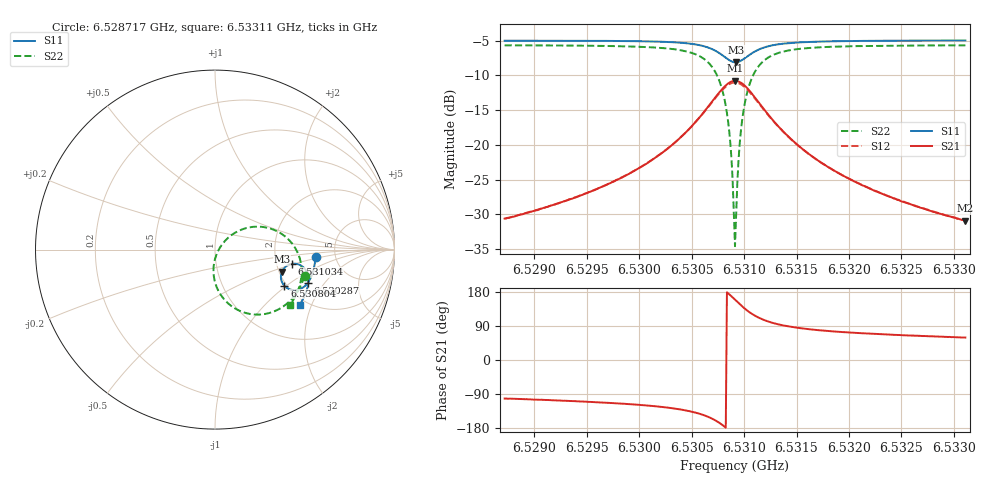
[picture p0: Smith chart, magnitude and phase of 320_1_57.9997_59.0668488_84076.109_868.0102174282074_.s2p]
#  HZ  S  RI  R  50.00
! Rohde & Schwarz Vector Network Analyzer
! Rohde-Schwarz,ZNB20-2Port,1311601062101988,3.16
! Created: UTC 3/21/2024, 1:04:39 AM
! freq[Hz]  re:S11  im:S11  re:S21  im:S21  re:S12  im:S12  re:S22  im:S22
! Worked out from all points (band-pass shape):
!   401 points, 6.528717 GHz to 6.53311 GHz, reference 50 ohm
!   highest |S21| = -10.79 dB at 6.530913 GHz (marker M1); lowest = -30.9 dB at 6.53311 GHz (marker M2)
!   |S21| within 3 dB of the highest: 6.530694 GHz to 6.531134 GHz (439.9 kHz wide, 0.00674 % of centre)
!   lowest |S11| = -8.1 dB at 6.530924 GHz (marker M3), VSWR 2.29, Z = 103 - j30.3 ohm
!   |S11| at or under -10 dB: nowhere
!   |S22| runs from -34.6 to -5.7 dB; largest |S21 - S12| = 0.011
!   S11 on the Smith chart (normalised r, x): 6.528717 GHz: 3.50, -0.44; 6.530287 GHz: 2.61, -1.39; 6.530804 GHz: 1.94, -0.96; 6.531034 GHz: 2.43, -0.48; 6.53311 GHz: 1.84, -1.65
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6.5287166e9  0.56 -0.0426  -0.00603 -0.0289  -0.00666 -0.0287  0.4991 -0.1468
6.5294525e9  0.5511 -0.103  -0.0145 -0.0411  -0.0155 -0.0408  0.4707 -0.2139
6.5301885e9  0.5245 -0.1741  -0.046 -0.0709  -0.0479 -0.0696  0.3943 -0.3065
6.5302874e9  0.5168 -0.1858  -0.0569 -0.0777  -0.0589 -0.0761  0.3713 -0.323
6.5306389e9  0.454 -0.2253  -0.153 -0.0961  -0.1553 -0.0899  0.1883 -0.3572
6.5307377e9  0.4152 -0.2209  -0.2134 -0.0727  -0.2132 -0.064  0.0851 -0.3098
6.5308036e9  0.3863 -0.2011  -0.2566 -0.0284  -0.2525 -0.0191  0.0182 -0.2284
6.5308366e9  0.3746 -0.184  -0.2723 0.00534  -0.2661 0.014  -0.00289 -0.1694
6.5308585e9  0.3695 -0.1703  -0.2781 0.0316  -0.2705 0.0393  -0.0085 -0.1248
6.5308695e9  0.3679 -0.1627  -0.2793 0.0457  -0.271 0.0526  -0.00803 -0.1014
6.5308915e9  0.3673 -0.147  -0.2774 0.0743  -0.2683 0.0798  -0.000554 -0.0545
6.5309025e9  0.3681 -0.1392  -0.2744 0.0886  -0.2648 0.0933  0.00674 -0.0313
6.5309135e9  0.3701 -0.1312  -0.27 0.1027  -0.2603 0.1065  0.0164 -0.009
6.5309244e9  0.3726 -0.1238  -0.2641 0.1163  -0.2542 0.119  0.0281 0.0124
6.5309684e9  0.3903 -0.0981  -0.2293 0.1618  -0.2204 0.1615  0.0926 0.0815
6.5310013e9  0.4084 -0.0857  -0.196 0.1842  -0.1885 0.1821  0.1515 0.1127
6.5310343e9  0.4275 -0.0795  -0.1615 0.1959  -0.1557 0.1931  0.2104 0.1266
6.5311112e9  0.4662 -0.0827  -0.0935 0.194  -0.0905 0.1915  0.3246 0.1115
6.531221e9  0.4988 -0.1052  -0.0362 0.1645  -0.0347 0.1632  0.4179 0.0477
6.5316494e9  0.5207 -0.1809  0.0138 0.0815  0.0148 0.0812  0.4828 -0.1287
6.5323854e9  0.5008 -0.2535  0.0164 0.0391  0.0172 0.0388  0.4556 -0.2442
6.5331103e9  0.4731 -0.3067  0.0146 0.0245  0.0152 0.0242  0.4203 -0.3063
